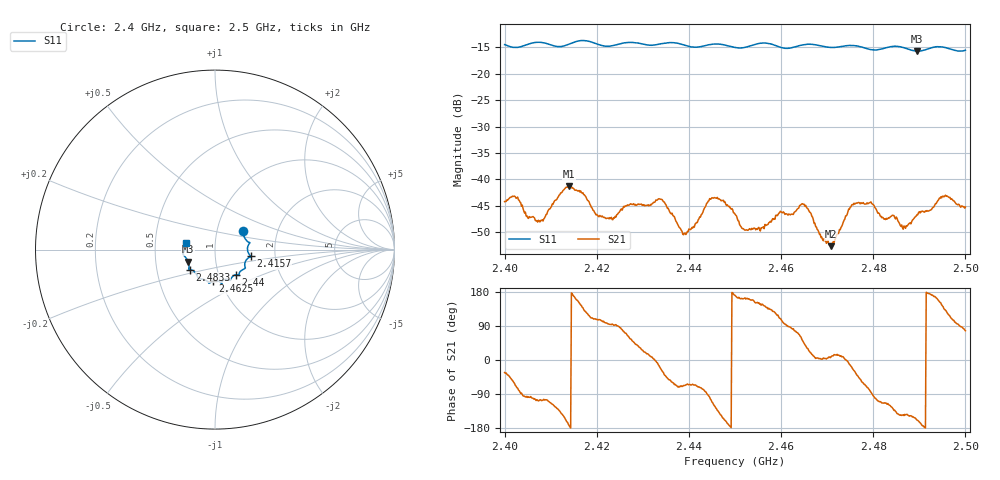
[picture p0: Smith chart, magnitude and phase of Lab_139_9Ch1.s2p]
# Hz S RI R 50
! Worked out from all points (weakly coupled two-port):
!   601 points, 2.4 GHz to 2.5 GHz, reference 50 ohm
!   highest |S21| = -41.25 dB at 2.414 GHz (marker M1); lowest = -52.7 dB at 2.4708 GHz (marker M2)
!   lowest |S11| = -15.7 dB at 2.4895 GHz (marker M3), VSWR 1.39, Z = 36.8 - j5.11 ohm
!   |S11| at or under -10 dB: start of sweep to end of sweep
!   S12 and S22 are empty: the file has one direction only
!   S11 on the Smith chart (normalised r, x): 2.4 GHz: 1.33, +0.29; 2.4157 GHz: 1.49, -0.11; 2.44 GHz: 1.21, -0.35; 2.4625 GHz: 0.92, -0.34; 2.4833 GHz: 0.74, -0.17; 2.5 GHz: 0.72, +0.05
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2.4e9  0.1564 0.1056  0.00515 -0.00337  0 0  0 0
2.402333e9  0.1626 0.07  0.00267 -0.00627  0 0  0 0
2.407833e9  0.1944 0.0379  -0.00106 -0.00394  0 0  0 0
2.414e9  0.189 -0.0245  -0.00859 -0.00105  0 0  0 0
2.415667e9  0.1993 -0.0369  -0.0073 0.00294  0 0  0 0
2.416667e9  0.2025 -0.0402  -0.00601 0.00446  0 0  0 0
2.4225e9  0.1679 -0.0701  -0.00039 0.00428  0 0  0 0
2.433333e9  0.1342 -0.1341  0.00636 -0.00136  0 0  0 0
2.44e9  0.1155 -0.14  0.00141 -0.00308  0 0  0 0
2.445e9  0.0854 -0.1697  -0.00239 -0.00626  0 0  0 0
2.45e9  0.0637 -0.1656  -0.00461 0.000768  0 0  0 0
2.4525e9  0.0419 -0.1741  -0.00317 0.00101  0 0  0 0
2.4625e9  -0.0105 -0.1768  0.00067 0.00461  0 0  0 0
2.464833e9  -0.0296 -0.1855  0.00387 0.00431  0 0  0 0
2.466667e9  -0.0336 -0.187  0.00433 0.00114  0 0  0 0
2.470833e9  -0.0565 -0.1681  0.00231 0.000322  0 0  0 0
2.475833e9  -0.0929 -0.1596  0.00524 -0.00279  0 0  0 0
2.483333e9  -0.1398 -0.1116  -0.00202 -0.00383  0 0  0 0
2.486833e9  -0.1448 -0.0987  -0.00288 -0.00213  0 0  0 0
2.4895e9  -0.1487 -0.0676  -0.00431 -0.0017  0 0  0 0
2.4955e9  -0.1767 -0.0179  -0.00479 0.00504  0 0  0 0
2.5e9  -0.1627 0.0372  0.00121 0.00533  0 0  0 0
